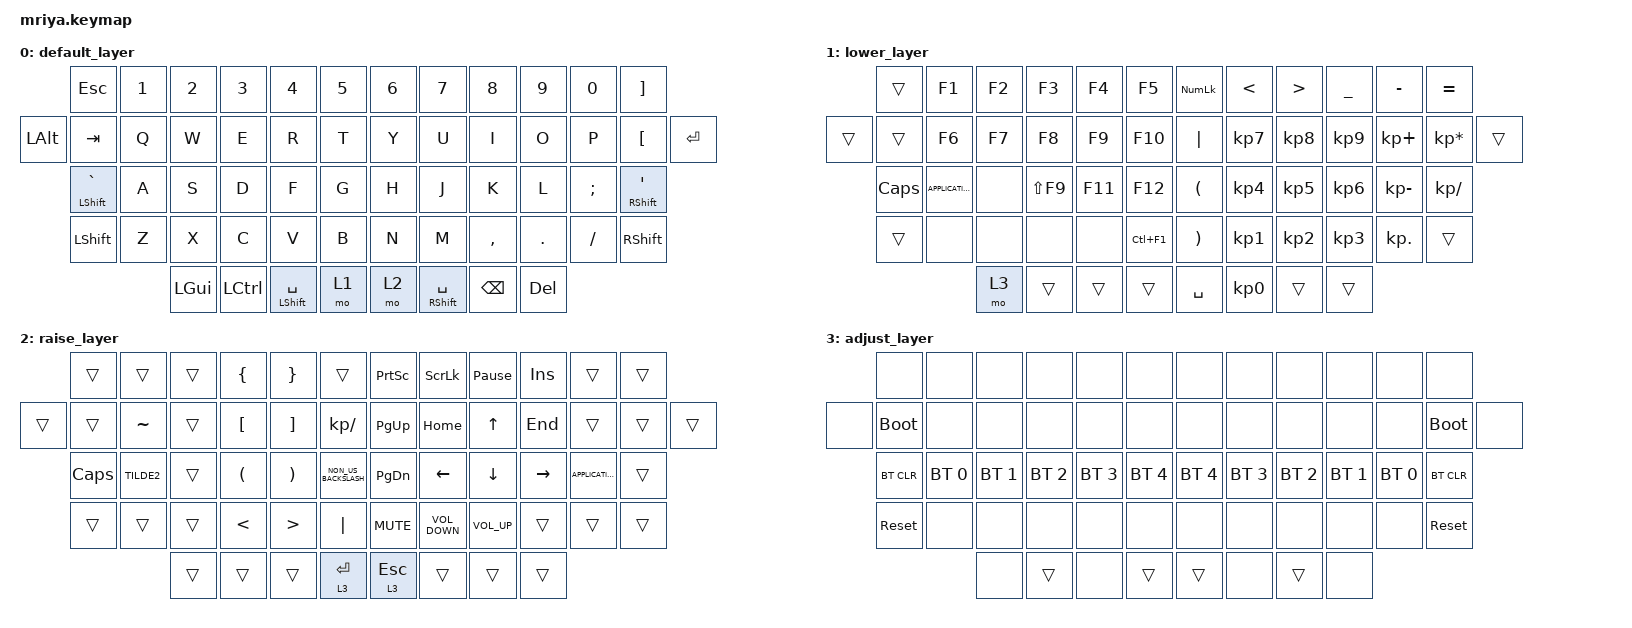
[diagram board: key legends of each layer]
/*
 * Copyright (c) 2023 Andrei Gaevskii
 *
 * SPDX-License-Identifier: MIT
 */

#include <behaviors.dtsi>
#include <dt-bindings/zmk/bt.h>
#include <dt-bindings/zmk/keys.h>

#define DEF 0
#define LWR 1
#define RSE 2
#define ADJ 3

&lt { quick_tap_ms = <200>; };

&mt { quick_tap_ms = <200>; };

/ {
    keymap {
        compatible = "zmk,keymap";

        default_layer {
            bindings = <
              &kp ESC               &kp N1  &kp N2    &kp N3            &kp N4                &kp N5    &kp N6  &kp N7                 &kp N8         &kp N9      &kp N0    &kp RIGHT_BRACKET
&kp LEFT_ALT  &kp TAB               &kp Q   &kp W     &kp E             &kp R                 &kp T     &kp Y   &kp U                  &kp I          &kp O       &kp P     &kp LBKT             &kp ENTER
              &mt LEFT_SHIFT GRAVE  &kp A   &kp S     &kp D             &kp F                 &kp G     &kp H   &kp J                  &kp K          &kp L       &kp SEMI  &mt RIGHT_SHIFT SQT
              &kp LSHFT             &kp Z   &kp X     &kp C             &kp V                 &kp B     &kp N   &kp M                  &kp COMMA      &kp DOT     &kp FSLH  &kp RSHIFT
                                            &kp LGUI  &kp LEFT_CONTROL  &mt LEFT_SHIFT SPACE  &mo 1     &mo 2   &mt RIGHT_SHIFT SPACE  &kp BACKSPACE  &kp DELETE
            >;
        };

        lower_layer {
            bindings = <
        &trans    &kp F1             &kp F2  &kp F3      &kp F4   &kp F5        &kp KP_NUM             &kp LESS_THAN    &kp GREATER_THAN  &kp UNDERSCORE   &kp MINUS     &kp EQUAL
&trans  &trans    &kp F6             &kp F7  &kp F8      &kp F9   &kp F10       &kp PIPE               &kp KP_NUMBER_7  &kp KP_NUMBER_8   &kp KP_NUMBER_9  &kp KP_PLUS   &kp KP_MULTIPLY  &trans
        &kp CLCK  &kp K_APPLICATION  &none   &kp LS(F9)  &kp F11  &kp F12       &kp LEFT_PARENTHESIS   &kp KP_NUMBER_4  &kp KP_NUMBER_5   &kp KP_NUMBER_6  &kp KP_MINUS  &kp KP_DIVIDE
        &trans    &none              &none   &none       &none    &kp LC(F1)    &kp RIGHT_PARENTHESIS  &kp KP_NUMBER_1  &kp KP_NUMBER_2   &kp KP_NUMBER_3  &kp KP_DOT    &trans
                                     &mo 3   &trans      &trans   &trans        &kp SPACE              &kp KP_NUMBER_0  &trans            &trans
            >;
        };

        raise_layer {
            bindings = <
        &trans    &trans      &trans  &kp LEFT_BRACE        &kp RIGHT_BRACE        &trans                  &kp PSCRN      &kp SLCK           &kp PAUSE_BREAK  &kp INS    &trans             &trans
&trans  &trans    &kp TILDE   &trans  &kp LEFT_BRACKET      &kp RIGHT_BRACKET      &kp KP_DIVIDE           &kp PAGE_UP    &kp HOME           &kp UP_ARROW     &kp END    &trans             &trans  &trans
        &kp CLCK  &kp TILDE2  &trans  &kp LEFT_PARENTHESIS  &kp RIGHT_PARENTHESIS  &kp NON_US_BACKSLASH    &kp PAGE_DOWN  &kp LEFT           &kp DOWN         &kp RIGHT  &kp K_APPLICATION  &trans
        &trans    &trans      &trans  &kp LESS_THAN         &kp GREATER_THAN       &kp PIPE                &kp C_MUTE     &kp C_VOLUME_DOWN  &kp C_VOLUME_UP  &trans     &trans             &trans
                              &trans  &trans                &trans                 &lt 3 RET               &lt 3 ESC      &trans             &trans           &trans
            >;
        };

        adjust_layer {
            bindings = <
       &none        &none         &none         &none         &none         &none           &none         &none         &none         &none         &none         &none
&none  &bootloader  &none         &none         &none         &none         &none           &none         &none         &none         &none         &none         &bootloader  &none
       &bt BT_CLR   &bt BT_SEL 0  &bt BT_SEL 1  &bt BT_SEL 2  &bt BT_SEL 3  &bt BT_SEL 4    &bt BT_SEL 4  &bt BT_SEL 3  &bt BT_SEL 2  &bt BT_SEL 1  &bt BT_SEL 0  &bt BT_CLR
       &sys_reset   &none         &none         &none         &none         &none           &none         &none         &none         &none         &none         &sys_reset
                                  &none         &trans        &none         &trans          &trans        &none         &trans        &none
            >;
        };
    };
};
